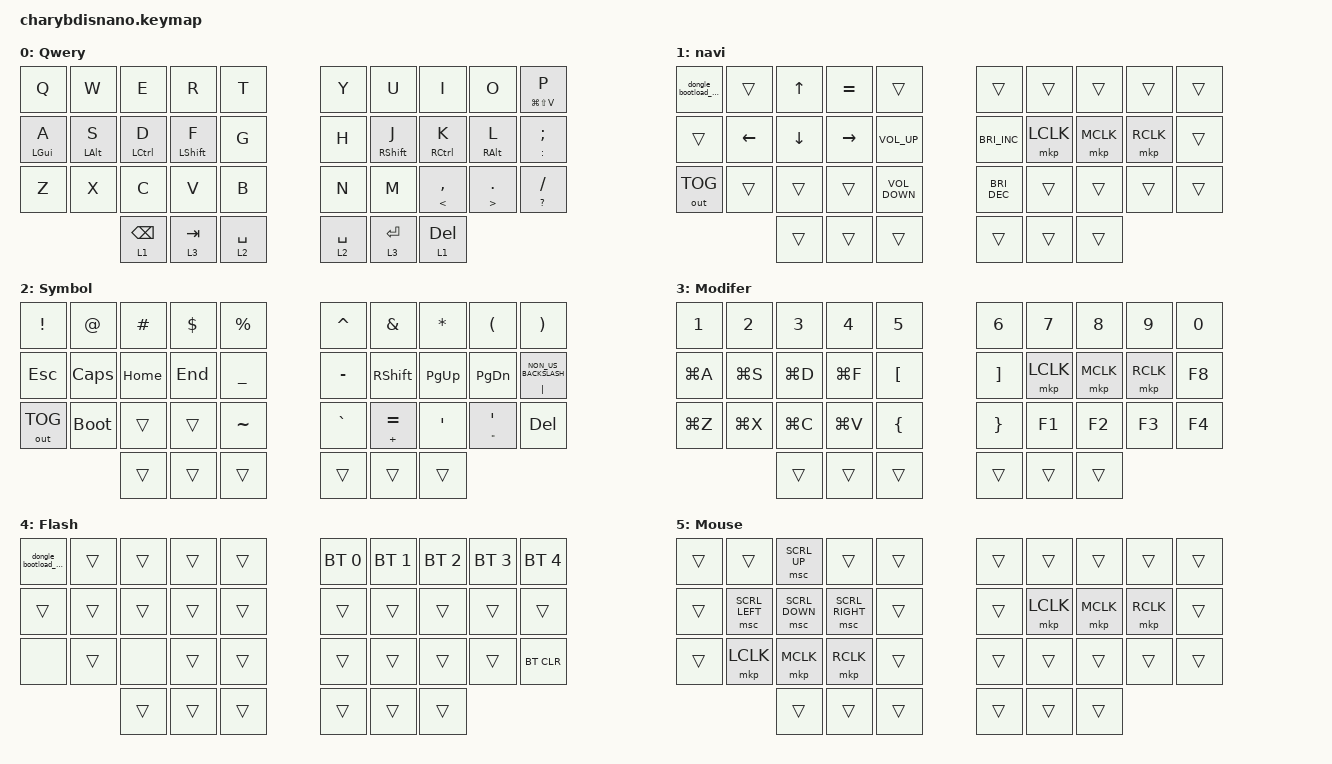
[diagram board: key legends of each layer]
#include <behaviors.dtsi>
#include <dt-bindings/zmk/bt.h>
#include <dt-bindings/zmk/keys.h>
#include <dt-bindings/zmk/mouse.h>
#include <dt-bindings/zmk/outputs.h>

&lt {
    tapping-term-ms = <240>;
    flavor = "balanced";
    quick-tap-ms = <150>;
};

&mt {
    global-quick-tap;
    flavor = "tap-preferred";
    tapping-term-ms = <200>;
};

&sk {
    release-after-ms = <2000>;
    quick-release;
};

/ {
    macros {
        gif: gif {
            label = "giphy";
            compatible = "zmk,behavior-macro";
            #binding-cells = <0>;
            bindings =
                <&macro_press>,
                <&kp LSHFT>,
                <&macro_tap>,
                <&kp N2>,
                <&macro_release>,
                <&kp LSHFT>,
                <&macro_tap>,
                <&kp G &kp I &kp F>;
        };

        dongle_bootload_macro: bootload_macro {
            compatible = "zmk,behavior-macro";
            #binding-cells = <0>;
            bindings = <&bootloader>;
            label = "BOOTLOAD_MACRO";
        };
    };

    combos {
        compatible = "zmk,combos";

        combo_esc {
            timeout-ms = <50>;
            key-positions = <0 1>;
            bindings = <&kp ESC>;
        };

        left_bkt {
            bindings = <&kp LEFT_BRACKET>;
            key-positions = <2 3>;
            timeout-ms = <50>;
        };

        right_bkt {
            bindings = <&kp RIGHT_BRACKET>;
            key-positions = <7 6>;
            timeout-ms = <50>;
        };

        left_par {
            bindings = <&kp LEFT_PARENTHESIS>;
            key-positions = <12 13>;
            timeout-ms = <50>;
        };

        right_par {
            bindings = <&kp RIGHT_PARENTHESIS>;
            key-positions = <16 17>;
            timeout-ms = <50>;
        };

        left_brace {
            bindings = <&kp LEFT_BRACE>;
            key-positions = <22 23>;
            timeout-ms = <50>;
        };

        right_brace {
            bindings = <&kp RIGHT_BRACE>;
            key-positions = <26 27>;
            timeout-ms = <50>;
        };

        bac {
            bindings = <&kp BACKSLASH>;
            key-positions = <5 6>;
            timeout-ms = <50>;
        };

        pipe {
            bindings = <&kp PIPE>;
            key-positions = <3 4>;
            timeout-ms = <50>;
        };
    };

    behaviors {
        hm: homerow_mods {
            compatible = "zmk,behavior-hold-tap";
            label = "HOMEROW_MODS";
            bindings = <&kp>, <&kp>;

            #binding-cells = <2>;
            tapping-term-ms = <200>;
            quick-tap-ms = <180>;
            flavor = "tap-preferred";
        };

        ltq: ltq {
            compatible = "zmk,behavior-hold-tap";
            label = "LTQ";
            bindings = <&mo>, <&kp>;

            #binding-cells = <2>;
            tapping-term-ms = <200>;
            quick-tap-ms = <180>;
        };

        as: auto_shift {
            compatible = "zmk,behavior-hold-tap";
            label = "AUTO_SHIFT";
            bindings = <&kp>, <&kp>;

            #binding-cells = <2>;
            tapping-term-ms = <135>;
            quick-tap-ms = <0>;
        };
    };

    keymap {
        compatible = "zmk,keymap";

        Qwery {
            label = "Qwery";
            bindings = <
&kp Q           &kp W           &kp E               &kp R             &kp T                     &kp Y  &kp U              &kp I                &kp O                    &hm LG(LS(V)) P
&hm LEFT_GUI A  &hm LEFT_ALT S  &hm LEFT_CONTROL D  &hm LEFT_SHIFT F  &kp G                     &kp H  &hm RIGHT_SHIFT J  &hm RIGHT_CONTROL K  &hm RIGHT_ALT L          &as COLON SEMICOLON
&kp Z           &kp X           &kp C               &kp V             &kp B                     &kp N  &kp M              &as LESS_THAN COMMA  &as GREATER_THAN PERIOD  &as QUESTION SLASH
                                                    &ltq 1 BACKSPACE  &ltq 3 TAB  &ltq 2 SPACE         &ltq 2 SPACE       &ltq 3 ENTER         &ltq 1 DELETE
            >;
        };

        Navi {
            label = "navi";
            bindings = <
&dongle_bootload_macro  &trans    &kp UP    &kp EQUAL  &trans                     &trans                &trans     &trans     &trans     &trans
&trans                  &kp LEFT  &kp DOWN  &kp RIGHT  &kp C_VOLUME_UP            &kp C_BRIGHTNESS_INC  &mkp LCLK  &mkp MCLK  &mkp RCLK  &trans
&out OUT_TOG            &trans    &trans    &trans     &kp C_VOLUME_DOWN          &kp C_BRI_DEC         &trans     &trans     &trans     &trans
                                            &trans     &trans             &trans                        &trans     &trans     &trans
            >;
        };

        Symbol {
            label = "Symbol";
            bindings = <
&kp EXCL      &kp AT        &kp HASH  &kp DLLR  &kp PRCNT               &kp CARET  &kp AMPS         &kp ASTERISK  &kp LPAR                        &kp RPAR
&kp ESCAPE    &kp CAPSLOCK  &kp HOME  &kp END   &kp UNDERSCORE          &kp MINUS  &kp RIGHT_SHIFT  &kp PAGE_UP   &kp PAGE_DOWN                   &as PIPE NON_US_BACKSLASH
&out OUT_TOG  &bootloader   &trans    &trans    &kp TILDE               &kp GRAVE  &as PLUS EQUAL   &kp SQT       &as DOUBLE_QUOTES SINGLE_QUOTE  &kp DELETE
                                      &trans    &trans          &trans             &trans           &trans        &trans
            >;
        };

        Modifer {
            label = "Modifer";
            bindings = <
&kp NUMBER_1  &kp NUMBER_2  &kp NUMBER_3  &kp NUMBER_4  &kp NUMBER_5              &kp NUMBER_6       &kp NUMBER_7  &kp NUMBER_8  &kp NUMBER_9  &kp NUMBER_0
&kp LG(A)     &kp LG(S)     &kp LG(D)     &kp LG(F)     &kp LEFT_BRACKET          &kp RIGHT_BRACKET  &mkp LCLK     &mkp MCLK     &mkp RCLK     &kp F8
&kp LG(Z)     &kp LG(X)     &kp LG(C)     &kp LG(V)     &kp LEFT_BRACE            &kp RIGHT_BRACE    &kp F1        &kp F2        &kp F3        &kp F4
                                          &trans        &trans            &trans                     &trans        &trans        &trans
            >;
        };

        Flash {
            label = "Flash";
            bindings = <
&dongle_bootload_macro  &trans  &trans  &trans  &trans          &bt BT_SEL 0  &bt BT_SEL 1  &bt BT_SEL 2  &bt BT_SEL 3  &bt BT_SEL 4
&trans                  &trans  &trans  &trans  &trans          &trans        &trans        &trans        &trans        &trans
&none                   &trans  &none   &trans  &trans          &trans        &trans        &trans        &trans        &bt BT_CLR
                                        &trans  &trans  &trans                &trans        &trans        &trans
            >;
        };

        Mouse {
            bindings = <
&trans  &trans          &msc SCRL_UP    &trans           &trans          &trans  &trans     &trans     &trans     &trans
&trans  &msc SCRL_LEFT  &msc SCRL_DOWN  &msc SCRL_RIGHT  &trans          &trans  &mkp LCLK  &mkp MCLK  &mkp RCLK  &trans
&trans  &mkp LCLK       &mkp MCLK       &mkp RCLK        &trans          &trans  &trans     &trans     &trans     &trans
                                        &trans           &trans  &trans          &trans     &trans     &trans
            >;
        };
    };

    conditional_layers {
        compatible = "zmk,conditional-layers";

        Flash {
            if-layers = <2 3>;
            then-layer = <4>;
        };
    };
};
